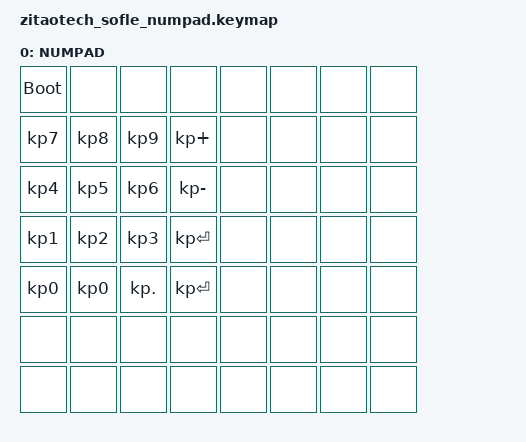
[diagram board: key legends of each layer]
// ZitaoTech Sofle Numpad — single-layer numpad
// Copyright (c) 2025 ZitaoTech
// SPDX-License-Identifier: MIT

#include <behaviors.dtsi>
#include <dt-bindings/zmk/keys.h>

#define NUMPAD_BOOT  &bootloader
#define NUMPAD_0     &kp KP_N0
#define NUMPAD_1     &kp KP_N1
#define NUMPAD_2     &kp KP_N2
#define NUMPAD_3     &kp KP_N3
#define NUMPAD_4     &kp KP_N4
#define NUMPAD_5     &kp KP_N5
#define NUMPAD_6     &kp KP_N6
#define NUMPAD_7     &kp KP_N7
#define NUMPAD_8     &kp KP_N8
#define NUMPAD_9     &kp KP_N9
#define NUMPAD_DOT   &kp KP_DOT
#define NUMPAD_ENT   &kp KP_ENTER
#define NUMPAD_PLUS  &kp KP_PLUS
#define NUMPAD_MINUS &kp KP_MINUS
#define NUMPAD_STAR  &kp KP_ASTERISK
#define NUMPAD_SLASH &kp KP_DIVIDE

/ {
    keymap {
        compatible = "zmk,keymap";

        numpad_layer {
            display-name = "NUMPAD";
            bindings = <
NUMPAD_BOOT  &none      &none      &none      &none      &none      &none      &none
NUMPAD_7     NUMPAD_8   NUMPAD_9   NUMPAD_PLUS &none    &none      &none      &none
NUMPAD_4     NUMPAD_5   NUMPAD_6   NUMPAD_MINUS &none   &none      &none      &none
NUMPAD_1     NUMPAD_2   NUMPAD_3   NUMPAD_ENT  &none     &none      &none      &none
NUMPAD_0     NUMPAD_0   NUMPAD_DOT NUMPAD_ENT  &none     &none      &none      &none
&none        &none      &none      &none       &none      &none      &none      &none
&none        &none      &none      &none       &none      &none      &none      &none
            >;
        };
    };
};
